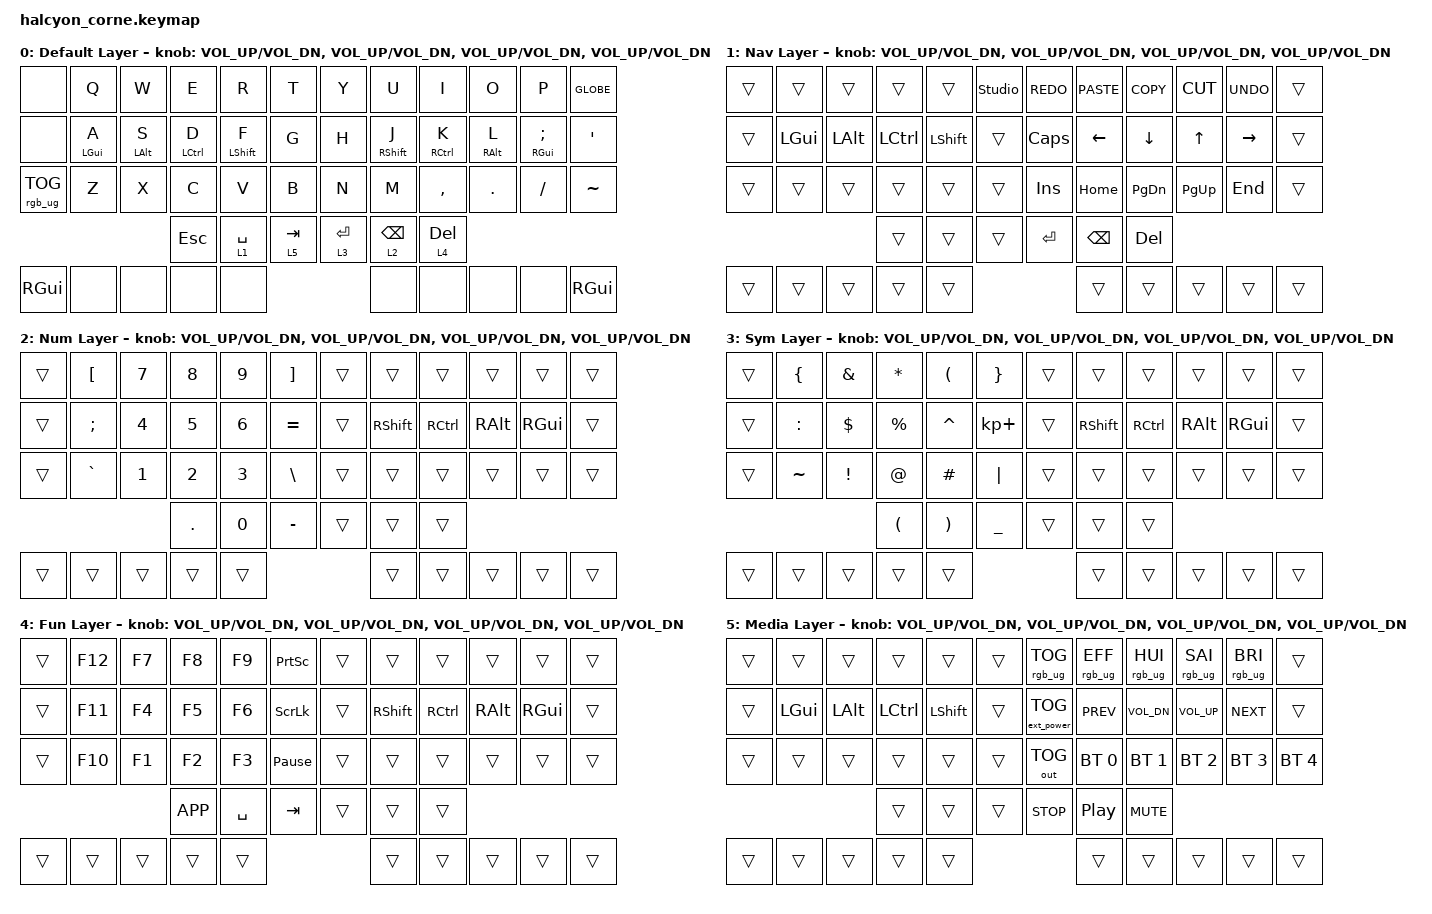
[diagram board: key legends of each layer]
/*
 * Copyright (c) 2020 The ZMK Contributors
 *
 * SPDX-License-Identifier: MIT
 */

#include <behaviors.dtsi>
#include <dt-bindings/zmk/bt.h>
#include <dt-bindings/zmk/ext_power.h>
#include <dt-bindings/zmk/keys.h>
#include <dt-bindings/zmk/outputs.h>
#include <dt-bindings/zmk/rgb.h>

/ {
    conditional_layers { compatible = "zmk,conditional-layers"; };
};

/ {
    behaviors {
        hrml: hrml {
            compatible = "zmk,behavior-hold-tap";
            label = "HRML";
            bindings = <&kp>, <&kp>;

            #binding-cells = <2>;
            flavor = "balanced";
            tapping-term-ms = <250>;
            quick-tap-ms = <175>;
            require-prior-idle-ms = <125>;
            hold-trigger-key-positions = <6 7 8 9 10 11 18 19 20 21 22 23 30 31 32 33 34 35 39 40 41>;
            hold-trigger-on-release;
        };

        hrmr: hrmr {
            compatible = "zmk,behavior-hold-tap";
            label = "HRMR";
            bindings = <&kp>, <&kp>;

            #binding-cells = <2>;
            tapping-term-ms = <250>;
            quick-tap-ms = <175>;
            require-prior-idle-ms = <125>;
            flavor = "balanced";
            hold-trigger-key-positions = <0 1 2 3 4 5 12 13 14 15 16 17 24 25 26 27 28 29 36 37 38>;
            hold-trigger-on-release;
        };
    };

    keymap {
        compatible = "zmk,keymap";

        default_layer {
            display-name = "Default Layer";

            // -----------------------------------------------------------------------------------------
            // |  TAB |  Q  |  W  |  E  |  R  |  T  |   |  Y  |  U   |  I  |  O  |  P  | BSPC |
            // | CTRL |  A  |  S  |  D  |  F  |  G  |   |  H  |  J   |  K  |  L  |  ;  |  '   |
            // | SHFT |  Z  |  X  |  C  |  V  |  B  |   |  N  |  M   |  ,  |  .  |  /  | ESC  |
            //                    | GUI | LWR | SPC |   | ENT | RSE  | ALT |

            bindings = <
&none            &kp Q         &kp W         &kp E          &kp R          &kp T        &kp Y        &kp U          &kp I          &kp O         &kp P            &kp GLOBE
&none            &hrml LGUI A  &hrml LALT S  &hrml LCTRL D  &hrml LSHFT F  &kp G        &kp H        &hrmr RSHFT J  &hrmr RCTRL K  &hrmr RALT L  &hrmr RGUI SEMI  &kp SQT
&rgb_ug RGB_TOG  &kp Z         &kp X         &kp C          &kp V          &kp B        &kp N        &kp M          &kp COMMA      &kp DOT       &kp FSLH         &kp TILDE
                                             &kp ESCAPE     &lt 1 SPACE    &lt 5 TAB    &lt 3 ENTER  &lt 2 BSPC     &lt 4 DEL
&kp RGUI         &none         &none         &none          &none                                    &none          &none          &none         &none            &kp RGUI
            >;

            sensor-bindings =
                <&inc_dec_kp C_VOL_UP C_VOL_DN>,
                <&inc_dec_kp C_VOL_UP C_VOL_DN>,
                <&inc_dec_kp C_VOL_UP C_VOL_DN>,
                <&inc_dec_kp C_VOL_UP C_VOL_DN>;
        };

        nav_layer {
            display-name = "Nav Layer";

            // -----------------------------------------------------------------------------------------
            // |  TAB |  1  |  2  |  3  |  4  |  5  |   |  6  |  7  |  8  |  9  |  0  | BSPC |
            // | BTCLR| BT1 | BT2 | BT3 | BT4 | BT5 |   | LFT | DWN |  UP | RGT |     |      |
            // | SHFT |     |     |     |     |     |   |     |     |     |     |     |      |
            //                    | GUI |     | SPC |   | ENT |     | ALT |

            bindings = <
&trans  &trans    &trans    &trans     &trans     &studio_unlock    &kp K_REDO  &kp K_PASTE  &kp K_COPY  &kp K_CUT  &kp K_UNDO  &trans
&trans  &kp LGUI  &kp LALT  &kp LCTRL  &kp LSHFT  &trans            &kp CAPS    &kp LEFT     &kp DOWN    &kp UP     &kp RIGHT   &trans
&trans  &trans    &trans    &trans     &trans     &trans            &kp INS     &kp HOME     &kp PG_DN   &kp PG_UP  &kp END     &trans
                            &trans     &trans     &trans            &kp RET     &kp BSPC     &kp DEL
&trans  &trans    &trans    &trans     &trans                                   &trans       &trans      &trans     &trans      &trans
            >;

            sensor-bindings =
                <&inc_dec_kp C_VOL_UP C_VOL_DN>,
                <&inc_dec_kp C_VOL_UP C_VOL_DN>,
                <&inc_dec_kp C_VOL_UP C_VOL_DN>,
                <&inc_dec_kp C_VOL_UP C_VOL_DN>;
        };

        num_layer {
            display-name = "Num Layer";

            // -----------------------------------------------------------------------------------------
            // |  TAB |  !  |  @  |  #  |  $  |STDIO|   |  ^  |  &  |  *  |  (  |  )  | BSPC |
            // | CTRL |     |     |     |  %  |     |   |  -  |  =  |  [  |  ]  |  \  |  `   |
            // | SHFT |     |     |     |     |     |   |  _  |  +  |  {  |  }  | "|" |  ~   |
            //                    | GUI |     | SPC |   | ENT |     | ALT |

            bindings = <
&trans  &kp LEFT_BRACKET  &kp N7  &kp N8   &kp N9  &kp RIGHT_BRACKET    &trans  &trans     &trans     &trans    &trans    &trans
&trans  &kp SEMI          &kp N4  &kp N5   &kp N6  &kp EQUAL            &trans  &kp RSHFT  &kp RCTRL  &kp RALT  &kp RGUI  &trans
&trans  &kp GRAVE         &kp N1  &kp N2   &kp N3  &kp BACKSLASH        &trans  &trans     &trans     &trans    &trans    &trans
                                  &kp DOT  &kp N0  &kp MINUS            &trans  &trans     &trans
&trans  &trans            &trans  &trans   &trans                               &trans     &trans     &trans    &trans    &trans
            >;

            sensor-bindings =
                <&inc_dec_kp C_VOL_UP C_VOL_DN>,
                <&inc_dec_kp C_VOL_UP C_VOL_DN>,
                <&inc_dec_kp C_VOL_UP C_VOL_DN>,
                <&inc_dec_kp C_VOL_UP C_VOL_DN>;
        };

        sym_layer {
            display-name = "Sym Layer";

            // -----------------------------------------------------------------------------------------
            // | BOOT  |       |       |       |       |     |   |     |     |     |     |     |     |
            // | RGB_ON|RGB_HUI|RGB_SAI|RGB_BRI|RGB_EFF|     |   |     |     |     |     |     |     |
            // |RGB_OFF|RGB_HUD|RGB_SAD|RGB_BRD|RGB_EFR|     |   |     |     |     |     |     |     |
            //                         |  GUI  |       | SPC |   | ENT |     | ALT |

            bindings = <
&trans  &kp LEFT_BRACE  &kp AMPS    &kp ASTERISK          &kp LEFT_PARENTHESIS   &kp RIGHT_BRACE    &trans  &trans     &trans     &trans    &trans    &trans
&trans  &kp COLON       &kp DOLLAR  &kp PERCENT           &kp CARET              &kp KP_PLUS        &trans  &kp RSHFT  &kp RCTRL  &kp RALT  &kp RGUI  &trans
&trans  &kp TILDE       &kp EXCL    &kp AT_SIGN           &kp HASH               &kp PIPE           &trans  &trans     &trans     &trans    &trans    &trans
                                    &kp LEFT_PARENTHESIS  &kp RIGHT_PARENTHESIS  &kp UNDERSCORE     &trans  &trans     &trans
&trans  &trans          &trans      &trans                &trans                                            &trans     &trans     &trans    &trans    &trans
            >;

            sensor-bindings =
                <&inc_dec_kp C_VOL_UP C_VOL_DN>,
                <&inc_dec_kp C_VOL_UP C_VOL_DN>,
                <&inc_dec_kp C_VOL_UP C_VOL_DN>,
                <&inc_dec_kp C_VOL_UP C_VOL_DN>;
        };

        fun_layer {
            display-name = "Fun Layer";
            bindings = <
&trans  &kp F12  &kp F7  &kp F8     &kp F9     &kp PRINTSCREEN    &trans  &trans     &trans     &trans    &trans    &trans
&trans  &kp F11  &kp F4  &kp F5     &kp F6     &kp SCROLLLOCK     &trans  &kp RSHFT  &kp RCTRL  &kp RALT  &kp RGUI  &trans
&trans  &kp F10  &kp F1  &kp F2     &kp F3     &kp PAUSE_BREAK    &trans  &trans     &trans     &trans    &trans    &trans
                         &kp K_APP  &kp SPACE  &kp TAB            &trans  &trans     &trans
&trans  &trans   &trans  &trans     &trans                                &trans     &trans     &trans    &trans    &trans
            >;

            sensor-bindings =
                <&inc_dec_kp C_VOL_UP C_VOL_DN>,
                <&inc_dec_kp C_VOL_UP C_VOL_DN>,
                <&inc_dec_kp C_VOL_UP C_VOL_DN>,
                <&inc_dec_kp C_VOLUME_UP C_VOL_DN>;
        };

        media_layer {
            display-name = "Media Layer";
            bindings = <
&trans  &trans    &trans    &trans     &trans     &trans    &rgb_ug RGB_TOG    &rgb_ug RGB_EFF   &rgb_ug RGB_HUI  &rgb_ug RGB_SAI  &rgb_ug RGB_BRI  &trans
&trans  &kp LGUI  &kp LALT  &kp LCTRL  &kp LSHFT  &trans    &ext_power EP_TOG  &kp C_PREV        &kp C_VOL_DN     &kp C_VOL_UP     &kp C_NEXT       &trans
&trans  &trans    &trans    &trans     &trans     &trans    &out OUT_TOG       &bt BT_SEL 0      &bt BT_SEL 1     &bt BT_SEL 2     &bt BT_SEL 3     &bt BT_SEL 4
                            &trans     &trans     &trans    &kp C_STOP         &kp C_PLAY_PAUSE  &kp K_MUTE
&trans  &trans    &trans    &trans     &trans                                  &trans            &trans           &trans           &trans           &trans
            >;

            sensor-bindings =
                <&inc_dec_kp C_VOL_UP C_VOL_DN>,
                <&inc_dec_kp C_VOL_UP C_VOL_DN>,
                <&inc_dec_kp C_VOL_UP C_VOL_DN>,
                <&inc_dec_kp C_VOL_UP C_VOL_DN>;
        };
    };
};
